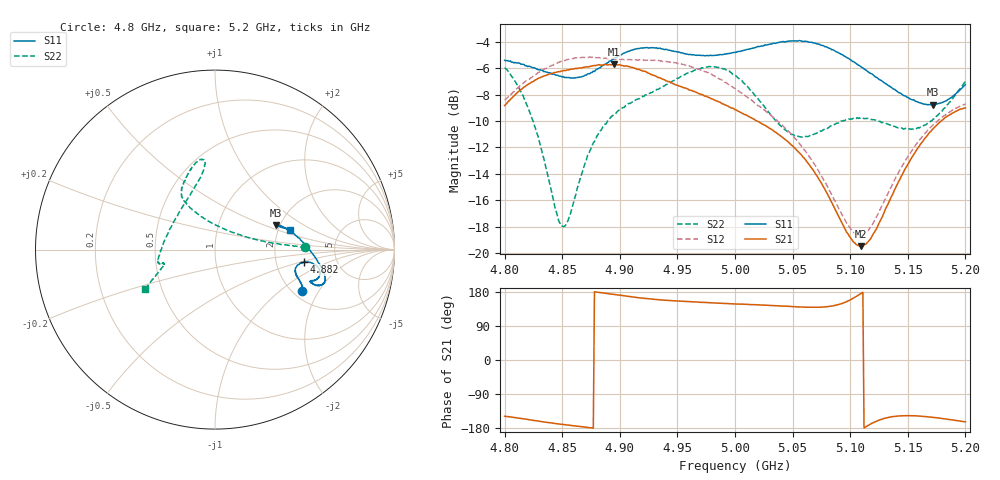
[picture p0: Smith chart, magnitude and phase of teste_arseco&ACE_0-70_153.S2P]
! Network Analyzer HP8722D
! Hewlett-Packard
! Data name: Linha & Wilkinson
! Saver's name: Rodrigo Anjos
! Comments: Teste da utilização de aquisição
! continua pelo VNA HP8722D
! Time and date: 8/5/2025 14:02
!  Frequency  S11  S21  S12  S22
# HZ  S  MA R 50
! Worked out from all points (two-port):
!   401 points, 4.8 GHz to 5.2 GHz, reference 50 ohm
!   highest |S21| = -5.70 dB at 4.895 GHz (marker M1); lowest = -19.5 dB at 5.109 GHz (marker M2)
!   |S21| within 3 dB of the highest: 4.802 GHz to 4.989 GHz (187.8 MHz wide, 3.84 % of centre)
!   lowest |S11| = -8.8 dB at 5.172 GHz (marker M3), VSWR 2.15, Z = 95 + j29.8 ohm
!   |S11| at or under -10 dB: nowhere
!   |S22| runs from -18.0 to -5.9 dB; largest |S21 - S12| = 1.1
!   S11 on the Smith chart (normalised r, x): 4.8 GHz: 2.24, -1.45; 4.882 GHz: 2.91, -0.53; 5.2 GHz: 2.33, +0.64
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4.8e9  0.5378 -25.4  0.362 -148.4  0.3796 11.0  0.5042 1.5
4.812e9  0.526 -22.3  0.4087 -153.4  0.4246 9.1  0.4258 2.8
4.823e9  0.5071 -20.5  0.4433 -158.3  0.4618 7.5  0.3311 6.0
4.849e9  0.4678 -16.0  0.4893 -169.7  0.5324 3.6  0.127 57.3
4.855e9  0.4619 -14.6  0.4944 -172.0  0.5424 2.4  0.1325 84.3
4.867e9  0.4662 -11.1  0.5028 -176.1  0.551 0.9  0.1995 112.9
4.882e9  0.5024 -7.8  0.5176 178.3  0.5506 -0.4  0.2859 121.6
4.895e9  0.5476 -7.9  0.519 173.1  0.5428 -0.5  0.3332 122.1
4.914e9  0.5933 -11.1  0.5004 165.3  0.5396 -0.0  0.3811 119.4
4.934e9  0.5975 -15.4  0.4622 158.9  0.5376 -1.2  0.4183 113.4
4.973e9  0.5598 -18.4  0.395 152.0  0.489 -4.8  0.5051 100.4
5e9  0.5762 -19.2  0.3491 148.0  0.422 -4.9  0.4727 97.2
5.018e9  0.6017 -19.3  0.3178 146.0  0.3674 -2.1  0.3929 103.7
5.045e9  0.6347 -17.3  0.2662 141.8  0.2935 3.4  0.2895 132.7
5.067e9  0.6277 -13.4  0.2086 139.2  0.224 9.6  0.2793 164.3
5.098e9  0.5486 -3.0  0.1183 155.7  0.1277 36.5  0.3213 -170.4
5.109e9  0.5093 2.1  0.1061 174.7  0.1168 58.0  0.3228 -166.9
5.119e9  0.4771 7.3  0.1158 -166.7  0.1275 77.6  0.3204 -165.8
5.134e9  0.4286 14.4  0.1573 -151.0  0.172 94.7  0.3063 -165.8
5.155e9  0.3814 21.2  0.2357 -147.3  0.2498 102.0  0.2946 -163.9
5.172e9  0.3647 21.9  0.2958 -151.4  0.3063 103.0  0.3216 -160.2
5.2e9  0.4348 14.7  0.3546 -163.1  0.3675 103.3  0.4461 -150.4
